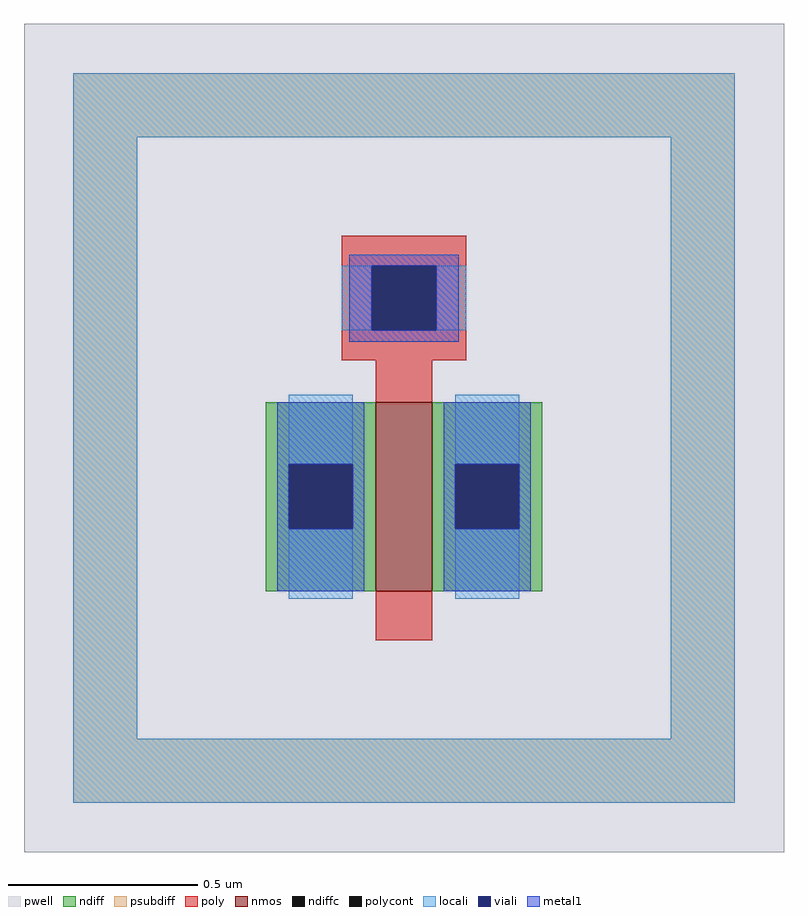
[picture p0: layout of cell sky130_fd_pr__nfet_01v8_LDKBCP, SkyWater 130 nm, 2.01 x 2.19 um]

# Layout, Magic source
magic
tech sky130B
magscale 1 2
<< pwell >>
rect -201 -219 201 219
<< nmos >>
rect -15 -81 15 19
<< ndiff >>
rect -73 -14 -15 19
rect -73 -48 -61 -14
rect -27 -48 -15 -14
rect -73 -81 -15 -48
rect 15 -14 73 19
rect 15 -48 27 -14
rect 61 -48 73 -14
rect 15 -81 73 -48
<< ndiffc >>
rect -61 -48 -27 -14
rect 27 -48 61 -14
<< psubdiff >>
rect -175 159 175 193
rect -175 -159 -141 159
rect 141 -159 175 159
rect -175 -193 175 -159
<< poly >>
rect -33 91 33 107
rect -33 57 -17 91
rect 17 57 33 91
rect -33 41 33 57
rect -15 19 15 41
rect -15 -107 15 -81
<< polycont >>
rect -17 57 17 91
<< locali >>
rect -175 159 175 193
rect -175 -159 -141 159
rect -33 57 -17 91
rect 17 57 33 91
rect -61 -14 -27 23
rect -61 -85 -27 -48
rect 27 -14 61 23
rect 27 -85 61 -48
rect 141 -159 175 159
rect -175 -193 175 -159
<< viali >>
rect -17 57 17 91
rect -61 -48 -27 -14
rect 27 -48 61 -14
<< metal1 >>
rect -29 91 29 97
rect -29 57 -17 91
rect 17 57 29 91
rect -29 51 29 57
rect -67 -14 -21 19
rect -67 -48 -61 -14
rect -27 -48 -21 -14
rect -67 -81 -21 -48
rect 21 -14 67 19
rect 21 -48 27 -14
rect 61 -48 67 -14
rect 21 -81 67 -48
<< properties >>
string FIXED_BBOX -158 -176 158 176
<< end >>
